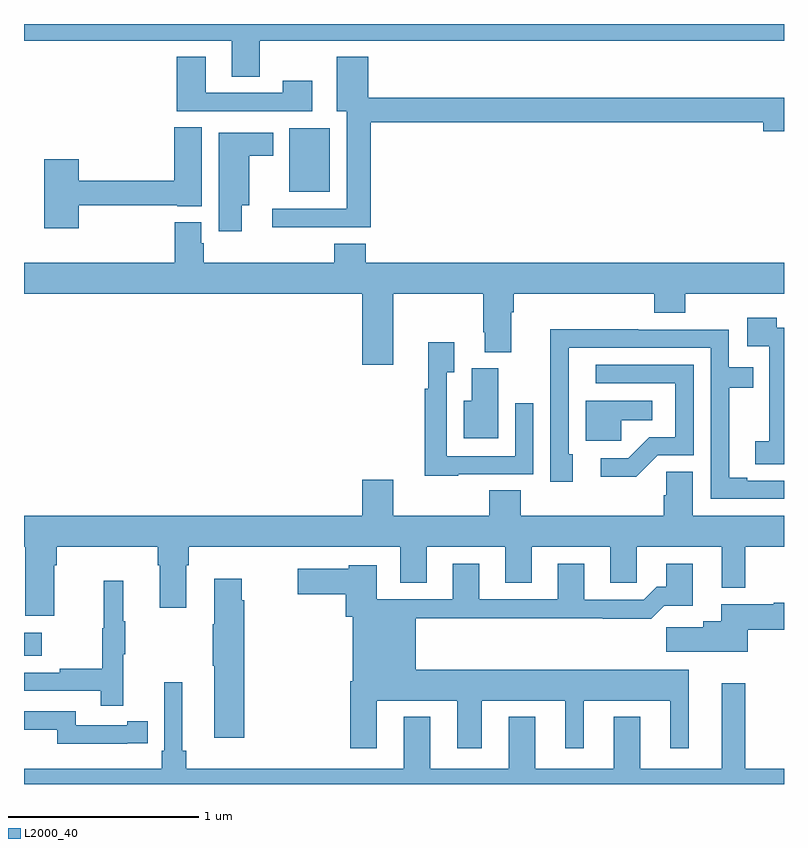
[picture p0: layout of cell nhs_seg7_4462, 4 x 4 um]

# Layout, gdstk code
import gdstk
lib = gdstk.Library(unit=1e-6, precision=1e-09)
def R(c, l, rs):  # rectangles x0, y0, x1, y1
    for r in rs: c.add(gdstk.rectangle(r[:2], r[2:], *l))
def P(c, l, *ps):  # polygons
    for p in ps: c.add(gdstk.Polygon(p, *l))
L2000_40 = (2000, 40)

nhs_seg7_4462 = lib.new_cell('nhs_seg7_4462')
R(nhs_seg7_4462, L2000_40, [(391,1034.675,391.093,1034.797), (392.396,1037.117,392.608,1037.452)])
P(nhs_seg7_4462, L2000_40, [(392.241,1037.912),(395,1037.912),(395,1038),(391,1038),(391,1037.912),(392.093,1037.912),(392.093,1037.722),(392.241,1037.722)],
  [(392.825,1037.482),(394.892,1037.482),(394.892,1037.435),(395,1037.435),(395,1037.611),(392.812,1037.611),(392.812,1037.827),(392.645,1037.827),(392.645,1037.54),(392.699,1037.54),(392.699,1037.028),(392.307,1037.028),(392.307,1036.93),(392.825,1036.93)],
  [(392.518,1037.701),(392.362,1037.701),(392.362,1037.637),(391.957,1037.637),(391.957,1037.827),(391.805,1037.827),(391.805,1037.541),(392.518,1037.541)],
  [(391.289,1037.046),(391.806,1037.046),(391.806,1037.042),(391.936,1037.042),(391.936,1037.456),(391.79,1037.456),(391.79,1037.174),(391.289,1037.174),(391.289,1037.287),(391.106,1037.287),(391.106,1036.926),(391.289,1036.926)],
  [(392.146,1037.045),(392.185,1037.045),(392.185,1037.306),(392.311,1037.306),(392.311,1037.428),(392.024,1037.428),(392.024,1036.908),(392.146,1036.908)],
  [(392.944,1036.58),(393.418,1036.58),(393.418,1036.378),(393.425,1036.378),(393.425,1036.273),(393.565,1036.273),(393.565,1036.484),(393.578,1036.484),(393.578,1036.58),(394.316,1036.58),(394.316,1036.481),(394.481,1036.481),(394.481,1036.58),(395,1036.58),(395,1036.744),(392.798,1036.744),(392.798,1036.843),(392.633,1036.843),(392.633,1036.744),(391.946,1036.744),(391.946,1036.845),(391.933,1036.845),(391.933,1036.957),(391.793,1036.957),(391.793,1036.744),(391,1036.744),(391,1036.58),(392.78,1036.58),(392.78,1036.206),(392.944,1036.206)],
  [(395,1036.401),(394.962,1036.401),(394.962,1036.453),(394.806,1036.453),(394.806,1036.305),(394.923,1036.305),(394.923,1036.001),(394.922,1036.001),(394.922,1035.804),(394.848,1035.804),(394.848,1035.682),(395,1035.682)],
  [(395,1035.597),(394.807,1035.597),(394.807,1035.612),(394.711,1035.612),(394.711,1036.086),(394.838,1036.086),(394.838,1036.194),(394.71,1036.194),(394.71,1036.392),(394.232,1036.392),(394.232,1036.394),(393.77,1036.394),(393.77,1036.09),(393.771,1036.09),(393.771,1035.591),(393.889,1035.591),(393.889,1035.735),(393.867,1035.735),(393.867,1036.296),(394.614,1036.296),(394.614,1035.501),(395,1035.501)],
  [(393.285,1035.63),(393.681,1035.63),(393.681,1036.003),(393.585,1036.003),(393.585,1035.726),(393.225,1035.726),(393.225,1036.168),(393.265,1036.168),(393.265,1036.324),(393.128,1036.324),(393.128,1036.079),(393.109,1036.079),(393.109,1035.623),(393.285,1035.623)],
  [(394.335,1035.729),(394.524,1035.729),(394.524,1036.206),(394.008,1036.206),(394.008,1036.11),(394.428,1036.11),(394.428,1035.825),(394.29,1035.825),(394.179,1035.714),(394.035,1035.714),(394.035,1035.617),(394.222,1035.617)],
  [(393.496,1036.188),(393.356,1036.188),(393.356,1036.018),(393.314,1036.018),(393.314,1035.821),(393.496,1035.821)],
  [(394.143,1035.914),(394.306,1035.914),(394.306,1036.018),(393.956,1036.018),(393.956,1035.807),(394.143,1035.807)],
  [(391.159,1035.152),(391.172,1035.152),(391.172,1035.248),(391.703,1035.248),(391.703,1035.152),(391.715,1035.152),(391.715,1034.928),(391.855,1034.928),(391.855,1035.152),(391.868,1035.152),(391.868,1035.248),(392.981,1035.248),(392.981,1035.058),(393.121,1035.058),(393.121,1035.248),(393.533,1035.248),(393.533,1035.058),(393.673,1035.058),(393.673,1035.248),(394.085,1035.248),(394.085,1035.058),(394.224,1035.058),(394.224,1035.248),(394.673,1035.248),(394.673,1035.032),(394.795,1035.032),(394.795,1035.248),(395,1035.248),(395,1035.412),(394.519,1035.412),(394.519,1035.644),(394.38,1035.644),(394.38,1035.521),(394.367,1035.521),(394.367,1035.412),(393.614,1035.412),(393.614,1035.545),(393.449,1035.545),(393.449,1035.412),(392.944,1035.412),(392.944,1035.601),(392.78,1035.601),(392.78,1035.412),(391,1035.412),(391,1035.248),(391.007,1035.248),(391.007,1034.886),(391.159,1034.886)],
  [(392.857,1034.438),(393.281,1034.438),(393.281,1034.187),(393.409,1034.187),(393.409,1034.438),(393.848,1034.438),(393.848,1034.187),(393.946,1034.187),(393.946,1034.438),(394.4,1034.438),(394.4,1034.187),(394.498,1034.187),(394.498,1034.602),(393.061,1034.602),(393.061,1034.872),(394.045,1034.872),(394.045,1034.87),(394.301,1034.87),(394.37,1034.939),(394.519,1034.939),(394.519,1035.16),(394.379,1035.16),(394.379,1035.037),(394.33,1035.037),(394.263,1034.97),(393.949,1034.97),(393.949,1035.16),(393.809,1035.16),(393.809,1034.973),(393.397,1034.973),(393.397,1035.16),(393.257,1035.16),(393.257,1034.973),(392.857,1034.973),(392.857,1035.151),(392.709,1035.151),(392.709,1035.133),(392.442,1035.133),(392.442,1034.999),(392.693,1034.999),(392.693,1034.88),(392.729,1034.88),(392.729,1034.542),(392.717,1034.542),(392.717,1034.187),(392.857,1034.187)],
  [(392.159,1034.966),(392.146,1034.966),(392.146,1035.079),(392,1035.079),(392,1034.84),(391.993,1034.84),(391.993,1034.623),(392,1034.623),(392,1034.244),(392.159,1034.244)],
  [(391.523,1034.683),(391.534,1034.683),(391.534,1034.857),(391.523,1034.857),(391.523,1035.07),(391.42,1035.07),(391.42,1034.82),(391.413,1034.82),(391.413,1034.606),(391.189,1034.606),(391.189,1034.586),(391,1034.586),(391,1034.49),(391.405,1034.49),(391.405,1034.412),(391.523,1034.412)],
  [(394.81,1034.813),(395,1034.813),(395,1034.955),(394.946,1034.955),(394.946,1034.947),(394.67,1034.947),(394.67,1034.857),(394.574,1034.857),(394.574,1034.825),(394.38,1034.825),(394.38,1034.696),(394.81,1034.696)],
  [(395,1034.08),(394.795,1034.08),(394.795,1034.53),(394.673,1034.53),(394.673,1034.08),(394.243,1034.08),(394.243,1034.353),(394.103,1034.353),(394.103,1034.08),(393.691,1034.08),(393.691,1034.353),(393.551,1034.353),(393.551,1034.08),(393.139,1034.08),(393.139,1034.353),(392.999,1034.353),(392.999,1034.08),(391.853,1034.08),(391.853,1034.176),(391.834,1034.176),(391.834,1034.536),(391.737,1034.536),(391.737,1034.176),(391.724,1034.176),(391.724,1034.08),(391,1034.08),(391,1034),(395,1034)],
  [(391.544,1034.214),(391.652,1034.214),(391.652,1034.33),(391.544,1034.33),(391.544,1034.31),(391.272,1034.31),(391.272,1034.382),(391,1034.382),(391,1034.286),(391.176,1034.286),(391.176,1034.213),(391.544,1034.213)])

lib.write_gds('nhs_seg7_4462.gds')
